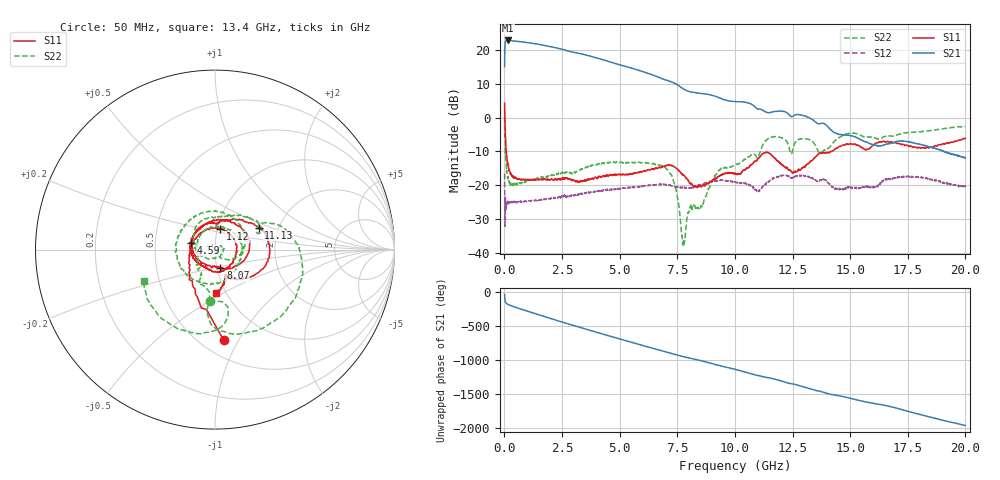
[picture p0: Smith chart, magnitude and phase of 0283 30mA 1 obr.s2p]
#  HZ  S  RI  R  50.00
! Rohde & Schwarz Vector Network Analyzer
! Rohde-Schwarz,ZNA43-2Port,1332450042101232,2.61
! Created: UTC 4/2/2026, 4:23:51 PM
! freq[Hz]  re:S11  im:S11  re:S21  im:S21  re:S12  im:S12  re:S22  im:S22
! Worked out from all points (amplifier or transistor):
!   2000 points, 10 MHz to 20 GHz, reference 50 ohm
!   highest |S21| = 22.8 dB at 170 MHz (marker M1)
!   |S21| within 3 dB of that: 18.68 MHz to 2.704 GHz (2.685 GHz wide, 197 % of centre)
!   unconditionally stable (mu >= 1): 77.13 MHz to 81.68 MHz; 151.2 MHz to end of sweep
!   at 3.34 GHz: K = 1.07, MAG = 19.0 dB, |S12| = -22.5 dB
!   at 10.01 GHz: K = 2.57, MAG = 5.0 dB, |S12| = -19.1 dB
!   at 20 GHz: K = 7.42, MAG = -7.4 dB, |S12| = -20.4 dB
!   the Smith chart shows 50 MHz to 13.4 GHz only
!   S11 on the Smith chart (normalised r, x): 50 MHz: 0.64, -0.87; 1.12 GHz: 1.03, +0.24; 4.59 GHz: 0.76, +0.06; 8.07 GHz: 1.04, -0.21; 11.13 GHz: 1.57, +0.42; 13.4 GHz: 0.90, -0.46
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1e7  1.618 -0.1751  4.129 -3.938  -0.0929 0.1149  0.7207 -0.7285
5e7  0.0484 -0.5052  -12.28 -5.353  0.033 0.0517  -0.0297 -0.2867
1.2e8  -0.1245 -0.2033  -13.78 0.3198  0.0544 0.0179  -0.0979 -0.1091
1.7e8  -0.1456 -0.1328  -13.62 2.528  0.0547 0.00276  -0.1061 -0.078
6.3e8  -0.0901 0.0863  -5.219 12.3  0.0458 -0.0334  -0.1035 0.032
1.12e9  0.0286 0.1161  6.477 10.93  0.0186 -0.0554  -0.0677 0.0984
1.68e9  0.1186 0.0297  11.79 -0.1309  -0.0211 -0.057  0.0227 0.1272
2.32e9  0.0823 -0.0919  4.071 -9.821  -0.0595 -0.0282  0.1321 0.0671
2.76e9  0.00563 -0.1247  -3.69 -8.961  -0.0671 0.00731  0.1443 -0.0344
3.35e9  -0.0666 -0.0928  -8.63 -1.349  -0.0483 0.0549  0.087 -0.1485
4e9  -0.1209 -0.0427  -4.258 6.348  0.0115 0.0807  -0.09 -0.1803
4.59e9  -0.1355 0.0389  2.712 6.099  0.0697 0.0507  -0.2109 -0.059
5.37e9  -0.083 0.1149  5.502 -0.8634  0.0855 -0.0364  -0.1695 0.1375
6.01e9  -0.0162 0.1589  1.603 -4.503  0.029 -0.092  -0.0371 0.2138
6.68e9  0.1008 0.1496  -2.752 -2.851  -0.0609 -0.0816  0.1244 0.1544
8.07e9  0.0303 -0.1015  -0.5799 2.329  -0.0564 0.0714  0.0456 0.00733
1.001e10  -0.00815 0.1478  0.895 -1.471  0.0961 -0.0552  0.0593 0.1854
1.113e10  0.2427 0.1221  -1.236 -0.4715  -0.0157 -0.085  0.3029 0.1474
1.334e10  0.0192 -0.2275  0.936 0.1186  0.0636 0.1116  -0.3945 -0.2147
1.34e10  0.00648 -0.2407  0.9139 0.0245  0.0719 0.0991  -0.3969 -0.173
1.667e10  0.2386 0.3622  -0.2104 0.3491  -0.1231 -0.00162  0.5136 0.1488
2e10  -0.3179 0.3774  -0.2402 -0.0835  -0.0165 -0.0935  0.0179 0.7334
